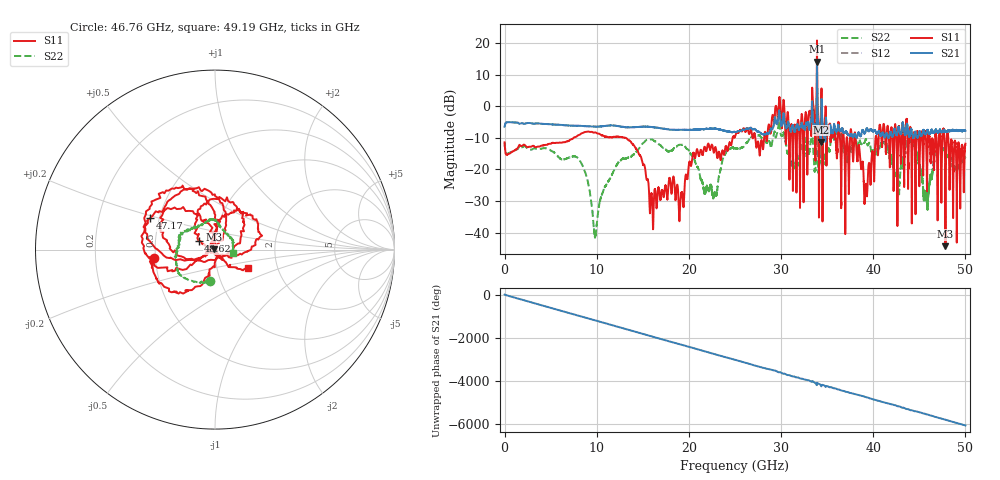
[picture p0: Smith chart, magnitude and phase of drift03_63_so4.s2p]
!Created with skrf (http://scikit-rf.org).
# Hz S RI R 50.0
!freq ReS11 ImS11 ReS21 ImS21 ReS12 ImS12 ReS22 ImS22
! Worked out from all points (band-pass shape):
!   10001 points, 300 kHz to 50 GHz, reference 50 ohm
!   highest |S21| = 14.14 dB at 33.9 GHz (marker M1); lowest = -11.3 dB at 34.32 GHz (marker M2)
!   |S21| within 3 dB of the highest: 33.89095 GHz to 33.90356 GHz (12.61 MHz wide, 0.0372 % of centre)
!   lowest |S11| = -44.3 dB at 47.84 GHz (marker M3), VSWR 1.01, Z = 49.5 + j0.278 ohm
!   |S11| at or under -10 dB: start of sweep to 7.487 GHz; 13.13 GHz to 24.74 GHz (11.61 GHz wide, 61.3 % of centre); 38.09 GHz to 40.25 GHz (2.164 GHz wide, 5.52 % of centre) (the widest 3 of 46)
!   |S22| runs from -41.6 to 6.6 dB; largest |S21 - S12| = 0.37
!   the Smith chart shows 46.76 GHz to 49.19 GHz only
!   S11 on the Smith chart (normalised r, x): 46.76 GHz: 0.49, -0.05; 47.17 GHz: 0.44, +0.19; 48.62 GHz: 0.83, +0.08; 49.19 GHz: 1.42, -0.30
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300000  -0.238 -0.1233  0.4665 0.0818  0.4655 0.0819  -0.2347 -0.1291
1.440291e9  0.2101 0.0647  -0.5483 -0.0294  -0.5484 -0.0292  0.2114 -0.00419
2.915283e9  -0.2122 -0.0877  0.534 0.0514  0.5342 0.051  -0.2019 0.0402
4.415274e9  0.206 0.1322  -0.5218 -0.0419  -0.5217 -0.042  0.1986 -0.0874
8.33525e9  0.2888 -0.2334  0.1457 0.4658  0.1464 0.4663  -0.0724 -0.1017
9.835241e9  -0.3655 0.1226  -0.1391 -0.4554  -0.1386 -0.4553  0.00844 0.00266
1.66702e10  0.0275 0.0436  -0.3783 0.2532  -0.378 0.2536  -0.1284 -0.2198
2.500015e10  -0.3257 -0.0147  -0.2556 -0.2959  -0.2541 -0.298  -0.2143 0.0297
2.895013e10  -0.3216 0.4228  -0.2914 0.3244  -0.3041 0.2883  0.0628 0.2213
3.006512e10  0.3982 0.2632  0.4493 -0.1981  0.4529 -0.1828  0.1744 -0.2975
3.171011e10  -0.0929 0.1894  -0.3604 0.3581  -0.36 0.3565  0.0669 0.159
3.33351e10  0.6545 -0.8473  0.2471 -0.8628  0.2529 -0.8416  -0.1955 -0.4273
3.38951e10  -2.602 -10.69  -5.015 0.8821  -4.712 1.103  0.5637 2.06
3.432009e10  -0.7762 -0.00302  -0.181 0.2016  -0.2424 0.1807  0.1416 -0.076
3.918006e10  0.053 0.0146  0.209 -0.3462  0.2194 -0.3415  -0.2671 -0.1325
4.167005e10  -0.205 0.3018  0.3148 0.00128  0.3171 0.00893  -0.1918 -0.00427
4.676002e10  -0.3392 -0.0456  -0.0876 0.4075  -0.0959 0.4113  -0.0262 -0.1731
4.717002e10  -0.3624 0.1746  0.2612 0.3195  0.2629 0.3148  -0.2052 -0.1316
4.784001e10  -0.00541 0.00281  0.3554 -0.1727  0.3546 -0.1735  -0.1521 0.1139
4.862001e10  -0.0914 0.0483  -0.2271 -0.3576  -0.2265 -0.3558  0.064 0.0879
4.9185e10  0.1851 -0.1027  -0.4003 0.0792  -0.3967 0.0831  0.103 -0.0174
5e10  -0.1192 -0.2259  0.1414 0.3838  0.1432 0.3811  -0.0553 -0.1425
